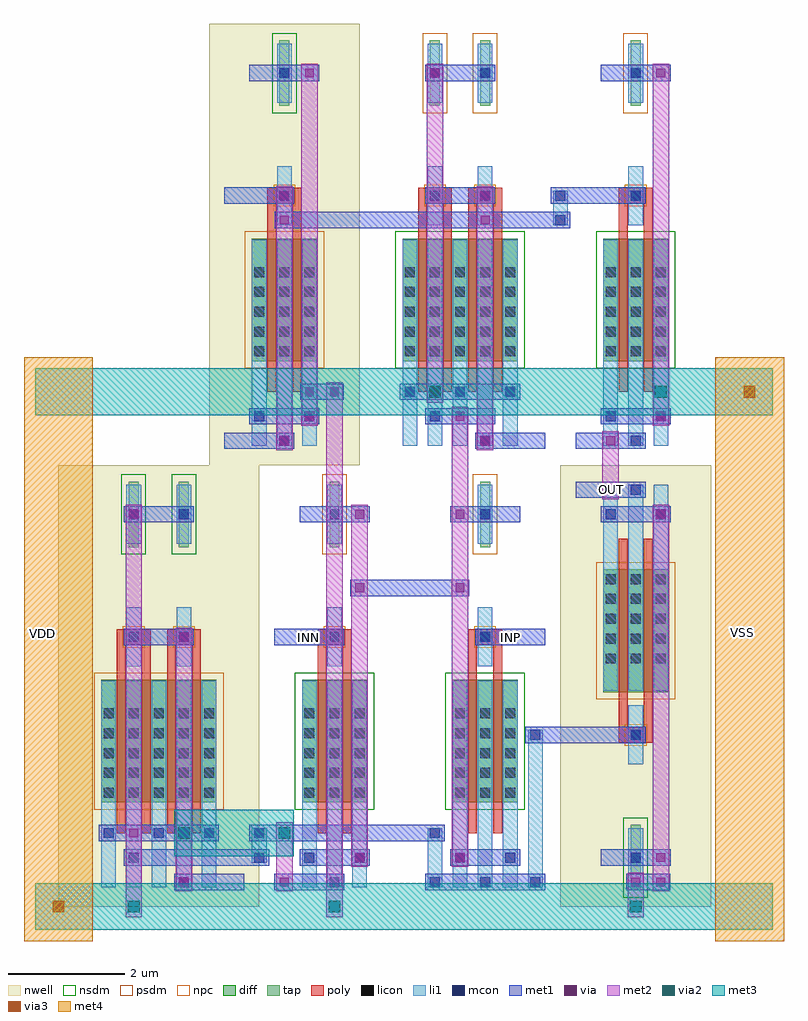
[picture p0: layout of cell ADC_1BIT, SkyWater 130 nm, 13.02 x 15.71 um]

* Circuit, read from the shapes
.subckt ADC_1BIT INN INP OUT VDD VSS
XM1 n1 INN VSS VSS sky130_fd_pr__nfet_01v8 w=2.1 l=0.15 m=2
XM2 VSS n2 VSS VSS sky130_fd_pr__nfet_01v8 w=2.1 l=0.15 m=2
XM3 n3 INP VSS VSS sky130_fd_pr__nfet_01v8 w=2.1 l=0.15 m=2
XM4 n2 n2 VSS VSS sky130_fd_pr__nfet_01v8 w=2.1 l=0.15 m=2
XM5 OUT n2 VSS VSS sky130_fd_pr__nfet_01v8 w=2.1 l=0.15 m=2
XM6 n3 n1 VDD VDD sky130_fd_pr__pfet_01v8 w=2.1 l=0.15 m=2
XM7 n1 n1 VDD VDD sky130_fd_pr__pfet_01v8 w=2.1 l=0.15 m=2
XM8 n2 n2 VDD VDD sky130_fd_pr__pfet_01v8 w=2.1 l=0.15 m=2
XM9 OUT n3 VDD VDD sky130_fd_pr__pfet_01v8 w=2.1 l=0.15 m=2
.ends

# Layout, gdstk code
import gdstk
lib = gdstk.Library(unit=1e-6, precision=1e-09)
def R(c, l, rs):  # rectangles x0, y0, x1, y1
    for r in rs: c.add(gdstk.rectangle(r[:2], r[2:], *l))
def A(c, l, x, y, w, h, nx, ny, dx, dy):  # array of equal rectangles
    R(c, l, [(x+i*dx, y+j*dy, x+i*dx+w, y+j*dy+h) for i in range(nx) for j in range(ny)])
nwell = (64, 20)
diff = (65, 20)
tap = (65, 44)
poly = (66, 20)
licon = (66, 44)
li1 = (67, 20)
mcon = (67, 44)
met1 = (68, 20)
via = (68, 44)
met2 = (69, 20)
via2 = (69, 44)
met3 = (70, 20)
via3 = (70, 44)
met4 = (71, 20)
nsdm = (93, 44)
psdm = (94, 20)
npc = (95, 20)

adc_1bit = lib.new_cell('ADC_1BIT')
R(adc_1bit, nwell, [(0,0,3.44,7.56), (8.6,0,11.18,7.56), (2.58,7.56,5.16,15.12)])
R(adc_1bit, diff, [(0.735,1.785,2.705,3.885), (4.175,1.785,5.285,3.885), (6.755,1.785,7.865,3.885), (9.335,3.675,10.445,5.775), (3.315,9.345,4.425,11.445), (5.895,9.345,7.865,11.445), (9.335,9.345,10.445,11.445)])
A(adc_1bit, tap, 2.065, 6.16, 0.17, 1.12, 3, 1, 2.58, 0)
R(adc_1bit, tap, [(9.805,0.28,9.975,1.4), (1.205,6.16,1.375,7.28), (3.785,13.72,3.955,14.84), (6.365,13.72,6.535,14.84), (7.225,13.72,7.395,14.84), (9.805,13.72,9.975,14.84)])
A(adc_1bit, poly, 1, 1.26, 0.15, 3.225, 4, 1, 0.43, 0)
A(adc_1bit, poly, 1.86, 4.485, 0.58, 0.27, 3, 1, 2.58, 0)
A(adc_1bit, poly, 6.16, 8.82, 0.15, 3.225, 4, 1, 0.43, 0)
R(adc_1bit, poly, [(4.44,1.26,4.59,4.485), (4.87,1.26,5.02,4.485), (7.02,1.26,7.17,4.485), (7.45,1.26,7.6,4.485), (9.6,2.805,10.18,3.075), (9.6,3.075,9.75,6.3), (10.03,3.075,10.18,6.3), (1,4.485,1.58,4.755), (3.58,8.82,3.73,12.045), (4.01,8.82,4.16,12.045), (9.6,8.82,9.75,12.045), (10.03,8.82,10.18,12.045), (3.58,12.045,4.16,12.315), (6.16,12.045,6.74,12.315), (7.02,12.045,7.6,12.315), (9.6,12.045,10.18,12.315)])
A(adc_1bit, licon, 0.775, 1.865, 0.17, 0.17, 5, 5, 0.43, 0.34)
A(adc_1bit, licon, 4.215, 1.865, 0.17, 0.17, 3, 5, 0.43, 0.34)
A(adc_1bit, licon, 6.795, 1.865, 0.17, 0.17, 3, 5, 0.43, 0.34)
A(adc_1bit, licon, 9.375, 4.165, 0.17, 0.17, 3, 5, 0.43, 0.34)
A(adc_1bit, licon, 2.065, 4.535, 0.17, 0.17, 3, 2, 2.58, 2.1)
A(adc_1bit, licon, 3.355, 9.425, 0.17, 0.17, 3, 5, 0.43, 0.34)
A(adc_1bit, licon, 5.935, 9.425, 0.17, 0.17, 5, 5, 0.43, 0.34)
A(adc_1bit, licon, 9.375, 9.425, 0.17, 0.17, 3, 5, 0.43, 0.34)
R(adc_1bit, licon, [(9.805,0.755,9.975,0.925), (9.805,2.855,9.975,3.025), (1.205,4.535,1.375,4.705), (1.205,6.635,1.375,6.805), (3.785,12.095,3.955,12.265), (6.365,12.095,6.535,12.265), (7.225,12.095,7.395,12.265), (9.805,12.095,9.975,12.265), (3.785,14.195,3.955,14.365), (6.365,14.195,6.535,14.365), (7.225,14.195,7.395,14.365), (9.805,14.195,9.975,14.365)])
A(adc_1bit, li1, 0.735, 0.335, 0.25, 3.53, 5, 1, 0.43, 0)
A(adc_1bit, li1, 4.175, 0.335, 0.25, 3.53, 3, 1, 0.43, 0)
A(adc_1bit, li1, 6.755, 0.335, 0.25, 3.53, 3, 1, 0.43, 0)
A(adc_1bit, li1, 9.335, 3.695, 0.25, 3.53, 3, 2, 0.43, 4.2)
A(adc_1bit, li1, 2.025, 4.115, 0.25, 1.01, 3, 2, 2.58, 2.1)
A(adc_1bit, li1, 3.315, 7.895, 0.25, 3.53, 3, 1, 0.43, 0)
A(adc_1bit, li1, 5.895, 7.895, 0.25, 3.53, 5, 1, 0.43, 0)
R(adc_1bit, li1, [(6.325,0.335,6.575,1.345), (8.045,0.335,8.295,3.025), (9.765,0.335,10.015,1.345), (3.315,0.755,3.565,1.345), (9.765,2.435,10.015,3.445), (1.165,4.115,1.415,5.125), (1.165,6.215,1.415,7.225), (3.745,11.675,3.995,12.685), (6.325,11.675,6.575,12.685), (7.185,11.675,7.435,12.685), (8.475,11.675,8.725,12.265), (9.765,11.675,10.015,12.685), (3.745,13.775,3.995,14.785), (6.325,13.775,6.575,14.785), (7.185,13.775,7.435,14.785), (9.765,13.775,10.015,14.785)])
A(adc_1bit, mcon, 6.365, 0.335, 0.17, 0.17, 3, 1, 0.86, 0)
A(adc_1bit, mcon, 3.355, 0.755, 0.17, 0.17, 3, 1, 0.86, 0)
A(adc_1bit, mcon, 0.775, 1.175, 0.17, 0.17, 4, 1, 0.86, 0)
A(adc_1bit, mcon, 2.065, 4.535, 0.17, 0.17, 3, 2, 2.58, 2.1)
A(adc_1bit, mcon, 5.935, 8.735, 0.17, 0.17, 3, 1, 0.86, 0)
A(adc_1bit, mcon, 7.225, 12.095, 0.17, 0.17, 3, 1, 1.29, 0)
R(adc_1bit, mcon, [(2.065,0.335,2.235,0.505), (4.645,0.335,4.815,0.505), (1.205,0.755,1.375,0.925), (6.795,0.755,6.965,0.925), (7.655,0.755,7.825,0.925), (9.805,0.755,9.975,0.925), (6.365,1.175,6.535,1.345), (8.085,2.855,8.255,3.025), (9.805,2.855,9.975,3.025), (1.205,4.535,1.375,4.705), (1.205,6.635,1.375,6.805), (9.375,6.635,9.545,6.805), (10.235,6.635,10.405,6.805), (9.805,7.055,9.975,7.225), (3.785,7.895,3.955,8.065), (7.225,7.895,7.395,8.065), (9.805,7.895,9.975,8.065), (3.355,8.315,3.525,8.485), (4.215,8.315,4.385,8.485), (6.365,8.315,6.535,8.485), (9.375,8.315,9.545,8.485), (10.235,8.315,10.405,8.485), (8.515,11.675,8.685,11.845), (3.785,12.095,3.955,12.265), (6.365,12.095,6.535,12.265), (3.785,14.195,3.955,14.365), (6.365,14.195,6.535,14.365), (7.225,14.195,7.395,14.365), (9.805,14.195,9.975,14.365)])
A(adc_1bit, met1, 4.13, 0.7, 1.2, 0.28, 3, 2, 2.58, 5.88)
A(adc_1bit, met1, 3.27, 8.26, 1.2, 0.28, 3, 2, 3.01, 5.88)
R(adc_1bit, met1, [(1.98,0.28,3.18,0.56), (3.7,0.28,4.9,0.56), (6.28,0.28,8.34,0.56), (9.73,0.28,10.48,0.56), (1.12,0.7,3.61,0.98), (0.69,1.12,2.75,1.4), (3.27,1.12,6.62,1.4), (8,2.8,10.06,3.08), (1.12,4.48,2.32,4.76), (3.7,4.48,4.9,4.76), (7.14,4.48,8.34,4.76), (5,5.32,7.04,5.6), (1.12,6.58,2.32,6.86), (8.86,7,10.06,7.28), (2.84,7.84,4.04,8.12), (7.14,7.84,8.34,8.12), (8.86,7.84,10.06,8.12), (4.14,8.68,4.89,8.96), (5.85,8.68,7.91,8.96), (3.71,11.62,8.77,11.9), (2.84,12.04,4.04,12.32), (6.28,12.04,7.48,12.32), (8.43,12.04,10.06,12.32)])
R(adc_1bit, via, [(2.075,0.345,2.225,0.495), (3.795,0.345,3.945,0.495), (9.815,0.345,9.965,0.495), (10.245,0.345,10.395,0.495), (5.085,0.765,5.235,0.915), (6.805,0.765,6.955,0.915), (10.245,0.765,10.395,0.915), (1.215,1.185,1.365,1.335), (2.075,4.545,2.225,4.695), (5.085,5.385,5.235,5.535), (6.805,5.385,6.955,5.535), (1.215,6.645,1.365,6.795), (5.085,6.645,5.235,6.795), (6.805,6.645,6.955,6.795), (10.245,6.645,10.395,6.795), (9.385,7.065,9.535,7.215), (3.795,7.905,3.945,8.055), (7.235,7.905,7.385,8.055), (9.385,7.905,9.535,8.055), (4.225,8.325,4.375,8.475), (6.805,8.325,6.955,8.475), (10.245,8.325,10.395,8.475), (4.225,8.745,4.375,8.895), (4.655,8.745,4.805,8.895), (6.375,8.745,6.525,8.895), (3.795,11.685,3.945,11.835), (7.235,11.685,7.385,11.835), (3.795,12.105,3.945,12.255), (7.235,12.105,7.385,12.255), (4.225,14.205,4.375,14.355), (6.375,14.205,6.525,14.355), (10.245,14.205,10.395,14.355)])
R(adc_1bit, met2, [(1.15,-0.185,1.43,6.88), (4.59,-0.185,4.87,8.98), (9.75,-0.185,10.03,0.58), (2.01,0.26,2.29,4.78), (3.73,0.26,4.01,1.445), (10.18,0.26,10.46,6.88), (5.02,0.68,5.3,6.88), (6.74,0.68,7.02,8.56), (9.32,6.98,9.6,8.14), (3.73,7.82,4.01,12.34), (7.17,7.82,7.45,12.34), (4.16,8.24,4.44,14.44), (10.18,8.24,10.46,14.44), (6.31,8.635,6.59,14.44)])
R(adc_1bit, via2, [(1.19,-0.1,1.39,0.1), (4.63,-0.1,4.83,0.1), (9.79,-0.1,9.99,0.1), (2.05,1.16,2.25,1.36), (3.77,1.16,3.97,1.36), (6.35,8.72,6.55,8.92), (10.22,8.72,10.42,8.92)])
R(adc_1bit, met3, [(-0.4,-0.4,12.24,0.4), (1.985,0.86,4.035,1.66), (-0.4,8.42,12.24,9.22)])
R(adc_1bit, via3, [(-0.1,-0.1,0.1,0.1), (11.74,8.72,11.94,8.92)])
R(adc_1bit, met4, [(-0.59,-0.59,0.59,9.41), (11.25,-0.59,12.43,9.41)])
R(adc_1bit, nsdm, [(9.68,0.155,10.1,1.525), (4.05,1.66,5.41,4.01), (6.63,1.66,7.99,4.01), (1.08,6.035,1.5,7.405), (1.94,6.035,2.36,7.405), (5.77,9.22,7.99,11.57), (9.21,9.22,10.57,11.57), (3.66,13.595,4.08,14.965)])
R(adc_1bit, psdm, [(0.61,1.66,2.83,4.01), (9.21,3.55,10.57,5.9), (4.52,6.035,4.94,7.405), (7.1,6.035,7.52,7.405), (3.19,9.22,4.55,11.57), (6.24,13.595,6.66,14.965), (7.1,13.595,7.52,14.965), (9.68,13.595,10.1,14.965)])
A(adc_1bit, npc, 1.965, 4.435, 0.37, 0.37, 3, 1, 2.58, 0)
R(adc_1bit, npc, [(9.705,2.755,10.075,3.125), (1.105,4.435,1.475,4.805), (3.685,11.995,4.055,12.365), (6.265,11.995,6.635,12.365), (7.125,11.995,7.495,12.365), (9.705,11.995,10.075,12.365)])
adc_1bit.add(gdstk.Label('VSS', (11.72,4.7), layer=71, texttype=5))
adc_1bit.add(gdstk.Label('VDD', (-0.28,4.67), layer=71, texttype=5))
adc_1bit.add(gdstk.Label('OUT', (9.47,7.14), layer=69, texttype=5))
adc_1bit.add(gdstk.Label('INN', (4.28,4.61), layer=68, texttype=5))
adc_1bit.add(gdstk.Label('INP', (7.74,4.61), layer=68, texttype=5))

lib.write_gds('ADC_1BIT.gds')
